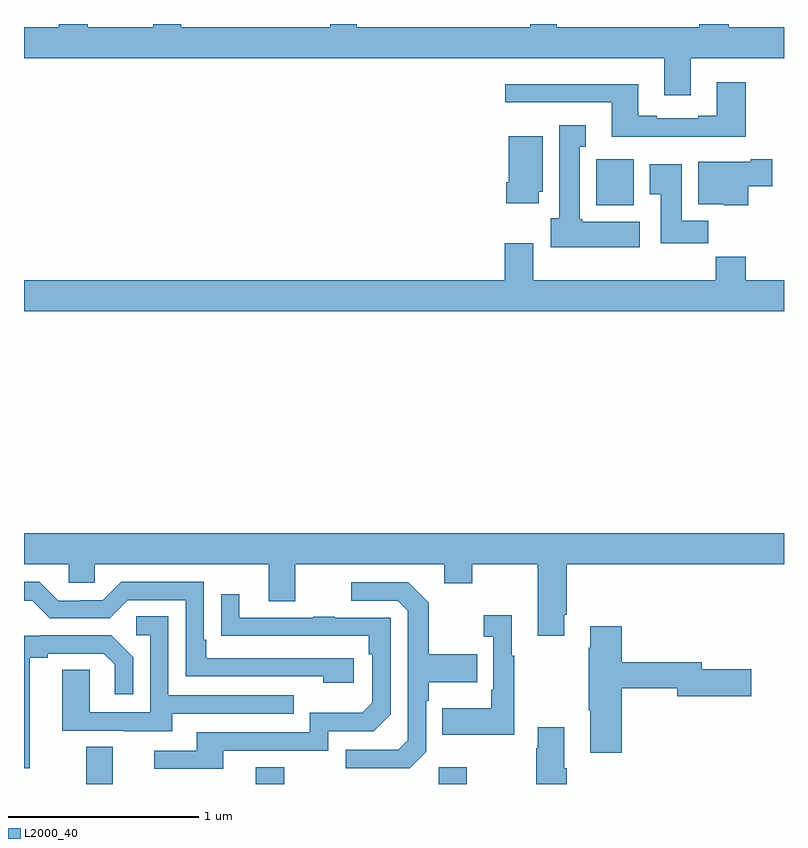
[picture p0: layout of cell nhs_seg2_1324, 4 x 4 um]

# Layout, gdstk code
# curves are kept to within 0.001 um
import gdstk
lib = gdstk.Library(unit=1e-6, precision=1e-09)
def R(c, l, rs):  # rectangles x0, y0, x1, y1
    for r in rs: c.add(gdstk.rectangle(r[:2], r[2:], *l))
def P(c, l, *ps):  # polygons
    for p in ps: c.add(gdstk.Polygon(p, *l))
L2000_40 = (2000, 40)

nhs_seg2_1324 = lib.new_cell('nhs_seg2_1324')
R(nhs_seg2_1324, L2000_40, [(179.327,659.8,179.467,659.996), (180.221,659.8,180.369,659.887), (181.182,659.8,181.329,659.887), (182.012,662.846,182.209,663.088)])
P(nhs_seg2_1324, L2000_40, [(182.509,663.62),(183,663.62),(183,663.784),(182.708,663.784),(182.708,663.8),(182.555,663.8),(182.555,663.784),(181.803,663.784),(181.803,663.8),(181.665,663.8),(181.665,663.784),(180.751,663.784),(180.751,663.8),(180.611,663.8),(180.611,663.784),(179.827,663.784),(179.827,663.8),(179.68,663.8),(179.68,663.784),(179.335,663.784),(179.335,663.8),(179.183,663.8),(179.183,663.784),(179,663.784),(179,663.62),(182.369,663.62),(182.369,663.426),(182.509,663.426)],
  [(182.798,663.493),(182.645,663.493),(182.645,663.316),(182.549,663.316),(182.549,663.303),(182.329,663.303),(182.329,663.316),(182.233,663.316),(182.233,663.484),(181.533,663.484),(181.533,663.387),(182.093,663.387),(182.093,663.206),(182.798,663.206)],
  [(182.242,662.758),(181.938,662.758),(181.938,662.772),(181.924,662.772),(181.924,663.155),(181.957,663.155),(181.957,663.268),(181.817,663.268),(181.817,662.778),(181.772,662.778),(181.772,662.624),(182.242,662.624)],
  [(181.708,662.916),(181.729,662.916),(181.729,663.208),(181.55,663.208),(181.55,662.968),(181.538,662.968),(181.538,662.856),(181.708,662.856)],
  [(182.813,662.947),(182.938,662.947),(182.938,663.089),(182.825,663.089),(182.825,663.076),(182.549,663.076),(182.549,662.852),(182.682,662.852),(182.682,662.846),(182.813,662.846)],
  [(182.6,662.764),(182.461,662.764),(182.461,663.061),(182.294,663.061),(182.294,662.905),(182.351,662.905),(182.351,662.646),(182.6,662.646)],
  [(183,662.452),(182.798,662.452),(182.798,662.576),(182.641,662.576),(182.641,662.452),(181.681,662.452),(181.681,662.647),(181.529,662.647),(181.529,662.452),(179,662.452),(179,662.288),(183,662.288)],
  [(181.843,660.691),(181.856,660.691),(181.856,660.956),(183,660.956),(183,661.12),(179,661.12),(179,660.956),(179.235,660.956),(179.235,660.858),(179.373,660.858),(179.373,660.956),(180.287,660.956),(180.287,660.762),(180.427,660.762),(180.427,660.956),(181.211,660.956),(181.211,660.857),(181.359,660.857),(181.359,660.956),(181.703,660.956),(181.703,660.579),(181.843,660.579)],
  [(180.736,660.462),(179.959,660.462),(179.959,660.559),(179.946,660.559),(179.946,660.864),(179.511,660.864),(179.415,660.768),(179.297,660.768),(179.297,660.765),(179.181,660.765),(179.081,660.865),(179,660.865),(179,660.765),(179.043,660.765),(179.136,660.672),(179.451,660.672),(179.547,660.768),(179.85,660.768),(179.85,660.366),(180.575,660.366),(180.575,660.332),(180.736,660.332)],
  [(181.116,659.97),(181.116,660.239),(181.129,660.239),(181.129,660.335),(181.385,660.335),(181.385,660.483),(181.129,660.483),(181.129,660.755),(181.023,660.861),(180.723,660.861),(180.723,660.765),(180.966,660.765),(181.02,660.711),(181.02,660.03),(180.969,659.979),(180.693,659.979),(180.693,659.883),(181.029,659.883)],
  [(180.049,659.976),(180.6,659.976),(180.6,660.078),(180.84,660.078),(180.93,660.168),(180.93,660.675),(180.635,660.675),(180.635,660.68),(180.523,660.68),(180.523,660.675),(180.133,660.675),(180.133,660.799),(180.037,660.799),(180.037,660.58),(180.814,660.579),(180.814,660.482),(180.834,660.482),(180.834,660.228),(180.781,660.175),(180.504,660.175),(180.504,660.072),(179.909,660.072),(179.909,659.976),(179.685,659.976),(179.685,659.88),(180.049,659.88)],
  [(181.579,660.475),(181.567,660.475),(181.567,660.688),(181.419,660.688),(181.419,660.575),(181.47,660.575),(181.47,660.295),(181.458,660.295),(181.458,660.199),(181.201,660.199),(181.201,660.059),(181.579,660.059)],
  [(179.779,660.171),(180.419,660.171),(180.419,660.267),(179.76,660.267),(179.76,660.683),(179.592,660.683),(179.592,660.582),(179.664,660.582),(179.664,660.177),(179.346,660.177),(179.346,660.401),(179.201,660.401),(179.201,660.081),(179.525,660.081),(179.525,660.077),(179.779,660.077)],
  [(182.147,660.304),(182.438,660.304),(182.438,660.262),(182.827,660.262),(182.827,660.404),(182.566,660.404),(182.566,660.44),(182.147,660.44),(182.147,660.631),(181.979,660.631),(181.979,660.518),(181.972,660.518),(181.972,660.187),(181.979,660.187),(181.979,659.964),(182.147,659.964)],
  [(179.029,660.464),(179.125,660.464),(179.125,660.486),(179.42,660.486),(179.477,660.429),(179.477,660.273),(179.574,660.273),(179.574,660.466),(179.458,660.582),(179.086,660.582),(179.086,660.579),(179,660.579),(179,659.883),(179.029,659.883)],
  [(181.856,659.884),(181.843,659.884),(181.843,660.1),(181.703,660.1),(181.703,659.987),(181.696,659.987),(181.696,659.8),(181.856,659.8)])

lib.write_gds('nhs_seg2_1324.gds')
